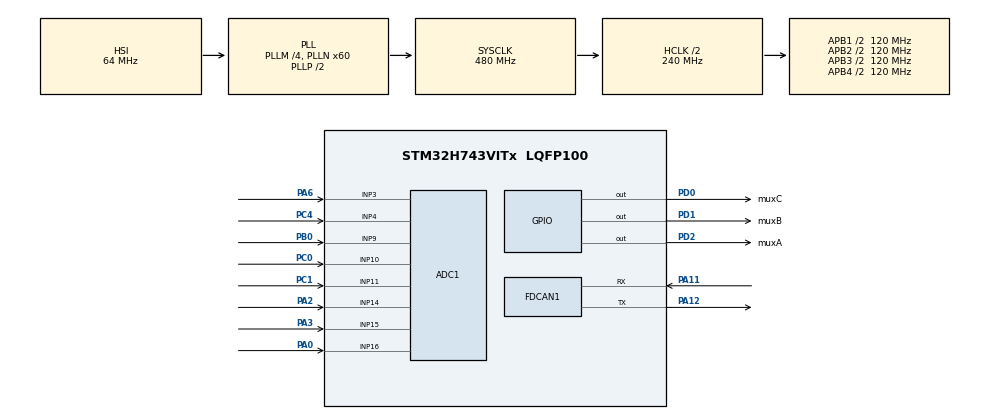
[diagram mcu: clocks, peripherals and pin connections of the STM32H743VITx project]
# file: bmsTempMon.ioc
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ADC1.Channel-2\#ChannelRegularConversion=ADC_CHANNEL_11
ADC1.NbrOfConversionFlag=1
ADC1.OffsetNumber-2\#ChannelRegularConversion=ADC_OFFSET_NONE
ADC1.OffsetSignedSaturation-2\#ChannelRegularConversion=DISABLE
ADC1.Rank-2\#ChannelRegularConversion=1
ADC1.SamplingTime-2\#ChannelRegularConversion=ADC_SAMPLETIME_1CYCLE_5
ADC1.master=1
CORTEX_M7.Size_Spec=MPU_REGION_SIZE_4GB
CORTEX_M7.default_mode_Activation=1
FDCAN1.AutoRetransmission=ENABLE
FDCAN1.CalculateBaudRateNominal=999999
FDCAN1.CalculateTimeBitNominal=1000
FDCAN1.CalculateTimeQuantumNominal=66.66666666666667
FDCAN1.FrameFormat=FDCAN_FRAME_CLASSIC
FDCAN1.NominalPrescaler=8
FDCAN1.NominalTimeSeg1=12
FDCAN1.NominalTimeSeg2=2
FDCAN1.RxFifo1ElmtsNbr=1
FDCAN1.StdFiltersNbr=1
FDCAN1.TxElmtSize=FDCAN_DATA_BYTES_12
FDCAN1.TxFifoQueueElmtsNbr=32
IWDG1.Prescaler=IWDG_PRESCALER_32
Mcu.Family=STM32H7
Mcu.Name=STM32H743VITx
Mcu.Package=LQFP100
NVIC.ADC_IRQn=true\:0\:0\:false\:false\:true\:true\:true\:true
NVIC.FDCAN1_IT0_IRQn=true\:0\:0\:false\:false\:true\:true\:true\:true
NVIC.PriorityGroup=NVIC_PRIORITYGROUP_4
PA0.Mode=IN16-Single-Ended
PA0.Signal=ADC1_INP16
PA11.Mode=FDCAN_Activate
PA11.Signal=FDCAN1_RX
PA12.Mode=FDCAN_Activate
PA12.Signal=FDCAN1_TX
PA2.Signal=ADCx_INP14
PA3.Signal=ADCx_INP15
PA6.Signal=ADCx_INP3
PB0.Signal=ADCx_INP9
PC0.Signal=ADCx_INP10
PC1.Signal=ADCx_INP11
PC4.Signal=ADCx_INP4
PD0.GPIO_Label=muxC
PD0.Signal=GPIO_Output
PD1.GPIO_Label=muxB
PD1.Signal=GPIO_Output
PD2.GPIO_Label=muxA
PD2.Signal=GPIO_Output
PH0-OSC_IN\ (PH0).Mode=HSE-External-Oscillator
PH0-OSC_IN\ (PH0).Signal=RCC_OSC_IN
PH1-OSC_OUT\ (PH1).Mode=HSE-External-Oscillator
PH1-OSC_OUT\ (PH1).Signal=RCC_OSC_OUT
ProjectManager.HeapSize=0x200
ProjectManager.StackSize=0x400
ProjectManager.TargetToolchain=STM32CubeIDE
RCC.ADCFreq_Value=80000000
RCC.APB1Freq_Value=120000000
RCC.APB2Freq_Value=120000000
RCC.APB3Freq_Value=120000000
RCC.APB4Freq_Value=120000000
RCC.CortexFreq_Value=480000000
RCC.D1PPRE=RCC_APB3_DIV2
RCC.D2PPRE1=RCC_APB1_DIV2
RCC.D2PPRE2=RCC_APB2_DIV2
RCC.D3PPRE=RCC_APB4_DIV2
RCC.DIVM1=4
RCC.DIVM2=4
RCC.DIVN1=60
RCC.DIVN2=10
RCC.DIVQ1=8
RCC.HCLKFreq_Value=240000000
RCC.HPRE=RCC_HCLK_DIV2
RCC.PLL2FRACN=0
RCC.PLL3FRACN=0
RCC.PLLFRACN=0
RCC.SYSCLKFreq_VALUE=480000000
RCC.SYSCLKSource=RCC_SYSCLKSOURCE_PLLCLK
RCC.USBFreq_Value=120000000
SH.ADCx_INP10.0=ADC1_INP10,IN10-Single-Ended
SH.ADCx_INP11.0=ADC1_INP11,IN11-Single-Ended
SH.ADCx_INP14.0=ADC1_INP14,IN14-Single-Ended
SH.ADCx_INP15.0=ADC1_INP15,IN15-Single-Ended
SH.ADCx_INP3.0=ADC1_INP3,IN3-Single-Ended
SH.ADCx_INP4.0=ADC1_INP4,IN4-Single-Ended
SH.ADCx_INP9.0=ADC1_INP9,IN9-Single-Ended
VP_IWDG1_VS_IWDG.Mode=IWDG_Activate
VP_MEMORYMAP_VS_MEMORYMAP.Mode=CurAppReg
board=custom

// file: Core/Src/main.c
/* USER CODE BEGIN Header */
/**
  ******************************************************************************
  * @file           : main.c
  * @brief          : Main program body
  ******************************************************************************
  * @attention
  *
  * Copyright (c) 2025 STMicroelectronics.
  * All rights reserved.
  *
  * This software is licensed under terms that can be found in the LICENSE file
  * in the root directory of this software component.
  * If no LICENSE file comes with this software, it is provided AS-IS.
  *
  ******************************************************************************
  */
/* USER CODE END Header */
#include "main.h"

/* USER CODE BEGIN Includes */
#include <math.h>
#include <stdbool.h>
#include "stm32h7xx_hal.h"
/* USER CODE END Includes */

/* USER CODE BEGIN PD */
#define V_REF (float) 3.3
#define FEEDBACK (float) 120.0
#define THERM_B (float) 3380.0
#define R0 (float) 10000.0
#define T0 (float) 298.15
/* USER CODE END PD */

ADC_HandleTypeDef hadc1;

FDCAN_HandleTypeDef hfdcan1;

IWDG_HandleTypeDef hiwdg1;

/* USER CODE BEGIN PV */
uint32_t adc_value = 0;   // ADC value

float voltage = 0.0;      // Voltage corresponding to the ADC value
float resistance = 0.0;   // Resistance based on voltage
float temperature = 0.0;  // Temperature in Celsius
float total_temperature = 0.0;
float average_temperature = 0.0;
float min_temperature = 100.0;
float max_temperature = 0.0;
float temp_counter = 0.0;

temp_Lookup_Table vt_Lookup[33] = {
		{2.44, -40},
		{2.42, -35},
		{2.40, -30},
		{2.38, -25},
		{2.35, -20},
		{2.32, -15},
		{2.27, -10},
		{2.23, -5},
		{2.17, 0},
		{2.11, 5},
		{2.05, 10},
		{1.99, 15},
		{1.92, 20},
		{1.86, 25},
		{1.80, 30},
		{1.74, 35},
		{1.68, 40},
		{1.63, 45},
		{1.59, 50},
		{1.55, 55},
		{1.51, 60},
		{1.48, 65},
		{1.45, 70},
		{1.43, 75},
		{1.40, 80},
		{1.38, 85},
		{1.37, 90},
		{1.35, 95},
		{1.34, 100},
		{1.33, 105},
		{1.32, 110},
		{1.31, 115},
		{1.30, 120}
};
FDCAN_TxHeaderTypeDef tx_Header;
/* USER CODE END PV */

void SystemClock_Config(void);
static void MPU_Config(void);
static void MX_GPIO_Init(void);
static void MX_ADC1_Init(void);
static void MX_FDCAN1_Init(void);
static void MX_IWDG1_Init(void);
/* USER CODE BEGIN PFP */
void sendCan(void);
HAL_StatusTypeDef CAN_init();
/* USER CODE END PFP */

/* USER CODE BEGIN 0 */
HAL_StatusTypeDef CAN_init()
{
	hfdcan1.Instance = FDCAN1; // Use FDCAN1 or FDCAN2
	hfdcan1.Init.FrameFormat = FDCAN_FRAME_CLASSIC;
	hfdcan1.Init.Mode = FDCAN_MODE_NORMAL;
	hfdcan1.Init.AutoRetransmission = ENABLE;
	hfdcan1.Init.TransmitPause = DISABLE;
	hfdcan1.Init.ProtocolException = DISABLE;

	hfdcan1.Init.NominalPrescaler = 8;
	hfdcan1.Init.NominalSyncJumpWidth = 1;
	hfdcan1.Init.NominalTimeSeg1 = 12;
	hfdcan1.Init.NominalTimeSeg2 = 2;

	hfdcan1.Init.DataPrescaler = 1;
	hfdcan1.Init.DataSyncJumpWidth = 1;
	hfdcan1.Init.DataTimeSeg1 = 1;
	hfdcan1.Init.DataTimeSeg2 = 1;

	if (HAL_FDCAN_Init(&hfdcan1) != HAL_OK)
		return HAL_ERROR;

	FDCAN_FilterTypeDef sFilterConfig;
	sFilterConfig.IdType = FDCAN_EXTENDED_ID;
	sFilterConfig.FilterIndex = 0;
	sFilterConfig.FilterType = FDCAN_FILTER_MASK;
	sFilterConfig.FilterConfig = FDCAN_FILTER_TO_RXFIFO0;
	sFilterConfig.FilterID1 = 0x0000;
	sFilterConfig.FilterID2 = 0x0000;

	if (HAL_FDCAN_ConfigFilter(&hfdcan1, &sFilterConfig) != HAL_OK)
	    return HAL_ERROR;

	if (HAL_FDCAN_Start(&hfdcan1) != HAL_OK)
	    return HAL_ERROR;

	uint32_t CAN_ID = 0x1839F380;

	tx_Header.Identifier = 0x1839F380;
	tx_Header.IdType = FDCAN_EXTENDED_ID;
	tx_Header.TxFrameType = FDCAN_DATA_FRAME;
	tx_Header.DataLength = FDCAN_DLC_BYTES_8;
	tx_Header.ErrorStateIndicator = FDCAN_ESI_ACTIVE;
	tx_Header.BitRateSwitch = FDCAN_BRS_OFF;
	tx_Header.FDFormat = FDCAN_CLASSIC_CAN;
	tx_Header.TxEventFifoControl = FDCAN_NO_TX_EVENTS;
	tx_Header.MessageMarker = 0;

	return HAL_OK;

//	debug_msg.StdId = 0x00;
//	debug_msg.ExtId = 0x7;
//	debug_msg.IDE = CAN_ID_EXT;
//	debug_msg.RTR = CAN_RTR_DATA;
//	debug_msg.DLC = 1;
//	debug_msg.TransmitGlobalTime = DISABLE;

}
void SetMuxChannel(uint8_t channel) {
    // Assuming each control pin is connected to one of the 3 GPIO pins
    HAL_GPIO_WritePin(muxA_GPIO_Port, muxA_Pin, (channel & 0x01) ? GPIO_PIN_SET : GPIO_PIN_RESET);
    HAL_GPIO_WritePin(muxB_GPIO_Port, muxB_Pin, (channel & 0x02) ? GPIO_PIN_SET : GPIO_PIN_RESET);
    HAL_GPIO_WritePin(muxC_GPIO_Port, muxC_Pin, (channel & 0x04) ? GPIO_PIN_SET : GPIO_PIN_RESET);
}

void setADCChannel(uint8_t channel) {
	ADC_ChannelConfTypeDef sConfig = {0};
	sConfig.Rank = ADC_REGULAR_RANK_1;
	sConfig.SamplingTime = ADC_SAMPLETIME_1CYCLE_5;
	sConfig.SingleDiff = ADC_SINGLE_ENDED;
	sConfig.OffsetNumber = ADC_OFFSET_NONE;
	sConfig.Offset = 0;
	sConfig.OffsetSignedSaturation = DISABLE;

	switch (channel) {
		case 0:
			sConfig.Channel = ADC_CHANNEL_3;
			break;
		case 1:
			sConfig.Channel = ADC_CHANNEL_4;
			break;
		case 2:
			sConfig.Channel = ADC_CHANNEL_9;
			break;
		case 3:
			sConfig.Channel = ADC_CHANNEL_10;
			break;
		case 4:
			sConfig.Channel = ADC_CHANNEL_11;
			break;
		case 5:
			sConfig.Channel = ADC_CHANNEL_14;
			break;
		case 6:
			sConfig.Channel = ADC_CHANNEL_15;
			break;
		case 7:
			sConfig.Channel = ADC_CHANNEL_16;
			break;
		default:
			Error_Handler();
			break;
	}

	if (HAL_ADC_ConfigChannel(&hadc1, &sConfig) != HAL_OK) {
		Error_Handler();  // Handle ADC configuration failure
	}
}

void Read_ADC(void) {
    HAL_ADC_Start(&hadc1);
    HAL_ADC_PollForConversion(&hadc1, 10);
    adc_value = HAL_ADC_GetValue(&hadc1);
    HAL_ADC_Stop(&hadc1);

    voltage = (adc_value * V_REF) / 65536.0;  // Convert ADC value to voltage
}

int8_t getClosestTemp(float voltage) {
    int16_t closestTemp = vt_Lookup[0].temperature;

    for (size_t i = 1; i < 33; i++) {
        if (vt_Lookup[i].voltage < voltage) {
            closestTemp = vt_Lookup[i].temperature;
            break;
        }
    }
    closestTemp = (closestTemp - 32) * 5 / 9;
    int8_t retTemp =  closestTemp & 0x00FF;
    return retTemp;
}

/*

float Get_Resistance(float voltage) {
    return FEEDBACK * (voltage / (V_REF - voltage));
}

float Get_Temperature(float resistance) {
    float temp_kelvin = 1.0 / ((1.0 / T0) + (1.0 / THERM_B) * log(resistance / R0));
    return temp_kelvin - 273.15;  // Convert to Celsius
}*/

void Calculate_Average_Temperature(void) {
    total_temperature = 0.0;
    temp_counter = 0;

    for(uint8_t adcChannel = 0; adcChannel < 8; adcChannel++) {
    	setADCChannel(adcChannel);

    	for (uint8_t muxChannel = 0; muxChannel < 8; muxChannel++) {
    		SetMuxChannel(muxChannel);  // Select mux channel (mux1 - mux8)

			Read_ADC();
			temperature = getClosestTemp(voltage);

        	if(adcChannel == 0 && (muxChannel == 1 || muxChannel == 6 || muxChannel == 7)){
        		continue; // Skip y1, y6, and y7 mux 0
        	}
        	if(adcChannel == 1){
        		continue; // skip mux 1
        	}
        	if(adcChannel == 2){
        		continue; // Skip mux 2
        	}
        	if(adcChannel == 3 && (muxChannel == 4)){
				continue; // skip y4 mux 3
			}
        	if(adcChannel == 4 && (muxChannel == 0)){
        		continue; // Skip y1 mux 4
        	}
        	if(adcChannel == 5 && (muxChannel == 7)){
				continue; // Skip y7 on mux 5
			}
        	if(adcChannel == 7 && (muxChannel > 3)){
        		continue; // skip last 4
        	}

			if(temperature < 0 ){
				continue;
			}

			if(temperature < min_temperature){
				min_temperature = temperature;
			}
			if(temperature > max_temperature){
				max_temperature = temperature;
			}
			total_temperature += temperature;
			temp_counter++;
		}
    }

    // Calculate the average temperature
    if (temp_counter < 1) {
		min_temperature = max_temperature = average_temperature = 0.0;
		temp_counter = 0;

	} else {
	    average_temperature = total_temperature / temp_counter;
	}
}

void sendCan(void){
    //uint8_t txData[8] = {0x01, 0x02, 0x03, 0x04, 0x05, 0x06, 0x07, 0x08};
	uint8_t txData[8];

    // Ensure temperatures stay within valid int8_t range
    int8_t min_temp = (int8_t)roundf(fmaxf(fminf(min_temperature, 127), -128));
    int8_t max_temp = (int8_t)roundf(fmaxf(fminf(max_temperature, 127), -128));
    int8_t avg_temp = (int8_t)roundf(fmaxf(fminf(average_temperature, 127), -128));

    txData[0] = 0x00;
    txData[1] = min_temp;
    txData[2] = max_temp;
    txData[3] = avg_temp;
    txData[4] = 0x28;
    txData[5] = 0x54;
    txData[6] = 0x01;
    txData[7] = txData[0] + txData[1] + txData[2] + txData[3] + txData[4] + txData[5] + txData[6] + 0x39 + 0x08;

    // Send CAN message
    if (HAL_FDCAN_AddMessageToTxFifoQ(&hfdcan1, &tx_Header, txData) != HAL_OK) {
        Error_Handler(); // Handle transmission failure
    }
}

/*void HAL_FDCAN_RxFifo0Callback(FDCAN_HandleTypeDef *hfdcan, uint32_t RxFifo0ITs) {
    if ((RxFifo0ITs & FDCAN_IT_RX_FIFO0_NEW_MESSAGE) != 0) {
        FDCAN_RxHeaderTypeDef RxHeader;
        uint8_t RxData[8];

        if (HAL_FDCAN_GetRxMessage(hfdcan, FDCAN_RX_FIFO0, &RxHeader, RxData) != HAL_OK) {

        }
    }
}*/
/* USER CODE END 0 */

int main(void)
{

  /* MPU Configuration--------------------------------------------------------*/
  MPU_Config();

  /* MCU Configuration--------------------------------------------------------*/

  /* Reset of all peripherals, Initializes the Flash interface and the Systick. */
  HAL_Init();

  /* Configure the system clock */
  SystemClock_Config();

  /* Initialize all configured peripherals */
  MX_GPIO_Init();
  MX_ADC1_Init();
  MX_FDCAN1_Init();
  MX_IWDG1_Init();
  /* USER CODE BEGIN 2 */
  if (__HAL_RCC_GET_FLAG(RCC_FLAG_IWDG1RST))
  {
      // WDT triggered the last reset
      __HAL_RCC_CLEAR_RESET_FLAGS();
      // Optional: indicate via LED or UART
  }

  if (CAN_init() != HAL_OK)
	  Error_Handler();
  //HAL_TIM_Base_Start_IT(&htim1);

/*  volatile bool ms200_flag = false;

  void HAL_TIM_PeriodElapsedCallback(TIM_HandleTypeDef *htim)
  {
	  ms200_flag = true;

  }*/

  /* USER CODE END 2 */

  /* Infinite loop */
  /* USER CODE BEGIN WHILE */
  while (1)
  {
//	  for(int i = 0; i < 20000; i++){ }
	  //if(ms200_flag)
	  Calculate_Average_Temperature();
	  sendCan();
      HAL_IWDG_Refresh(&hiwdg1);               // Refresh watchdog before 3s
	  HAL_Delay(10);

    /* USER CODE END WHILE */

  }
}

void SystemClock_Config(void)
{
  RCC_OscInitTypeDef RCC_OscInitStruct = {0};
  RCC_ClkInitTypeDef RCC_ClkInitStruct = {0};

  /** Supply configuration update enable
  */
  HAL_PWREx_ConfigSupply(PWR_LDO_SUPPLY);

  /** Configure the main internal regulator output voltage
  */
  __HAL_PWR_VOLTAGESCALING_CONFIG(PWR_REGULATOR_VOLTAGE_SCALE0);

  while(!__HAL_PWR_GET_FLAG(PWR_FLAG_VOSRDY)) {}

  /** Initializes the RCC Oscillators according to the specified parameters
  * in the RCC_OscInitTypeDef structure.
  */
  RCC_OscInitStruct.OscillatorType = RCC_OSCILLATORTYPE_HSI|RCC_OSCILLATORTYPE_LSI;
  RCC_OscInitStruct.HSIState = RCC_HSI_DIV1;
  RCC_OscInitStruct.HSICalibrationValue = RCC_HSICALIBRATION_DEFAULT;
  RCC_OscInitStruct.LSIState = RCC_LSI_ON;
  RCC_OscInitStruct.PLL.PLLState = RCC_PLL_ON;
  RCC_OscInitStruct.PLL.PLLSource = RCC_PLLSOURCE_HSI;
  RCC_OscInitStruct.PLL.PLLM = 4;
  RCC_OscInitStruct.PLL.PLLN = 60;
  RCC_OscInitStruct.PLL.PLLP = 2;
  RCC_OscInitStruct.PLL.PLLQ = 8;
  RCC_OscInitStruct.PLL.PLLR = 2;
  RCC_OscInitStruct.PLL.PLLRGE = RCC_PLL1VCIRANGE_3;
  RCC_OscInitStruct.PLL.PLLVCOSEL = RCC_PLL1VCOWIDE;
  RCC_OscInitStruct.PLL.PLLFRACN = 0;
  if (HAL_RCC_OscConfig(&RCC_OscInitStruct) != HAL_OK)
  {
    Error_Handler();
  }

  /** Initializes the CPU, AHB and APB buses clocks
  */
  RCC_ClkInitStruct.ClockType = RCC_CLOCKTYPE_HCLK|RCC_CLOCKTYPE_SYSCLK
                              |RCC_CLOCKTYPE_PCLK1|RCC_CLOCKTYPE_PCLK2
                              |RCC_CLOCKTYPE_D3PCLK1|RCC_CLOCKTYPE_D1PCLK1;
  RCC_ClkInitStruct.SYSCLKSource = RCC_SYSCLKSOURCE_PLLCLK;
  RCC_ClkInitStruct.SYSCLKDivider = RCC_SYSCLK_DIV1;
  RCC_ClkInitStruct.AHBCLKDivider = RCC_HCLK_DIV2;
  RCC_ClkInitStruct.APB3CLKDivider = RCC_APB3_DIV2;
  RCC_ClkInitStruct.APB1CLKDivider = RCC_APB1_DIV2;
  RCC_ClkInitStruct.APB2CLKDivider = RCC_APB2_DIV2;
  RCC_ClkInitStruct.APB4CLKDivider = RCC_APB4_DIV2;

  if (HAL_RCC_ClockConfig(&RCC_ClkInitStruct, FLASH_LATENCY_4) != HAL_OK)
  {
    Error_Handler();
  }
}

static void MX_ADC1_Init(void)
{

  ADC_MultiModeTypeDef multimode = {0};
  ADC_ChannelConfTypeDef sConfig = {0};

  /** Common config
  */
  hadc1.Instance = ADC1;
  hadc1.Init.ClockPrescaler = ADC_CLOCK_ASYNC_DIV1;
  hadc1.Init.Resolution = ADC_RESOLUTION_16B;
  hadc1.Init.ScanConvMode = ADC_SCAN_DISABLE;
  hadc1.Init.EOCSelection = ADC_EOC_SINGLE_CONV;
  hadc1.Init.LowPowerAutoWait = DISABLE;
  hadc1.Init.ContinuousConvMode = DISABLE;
  hadc1.Init.NbrOfConversion = 1;
  hadc1.Init.DiscontinuousConvMode = DISABLE;
  hadc1.Init.ExternalTrigConv = ADC_SOFTWARE_START;
  hadc1.Init.ExternalTrigConvEdge = ADC_EXTERNALTRIGCONVEDGE_NONE;
  hadc1.Init.ConversionDataManagement = ADC_CONVERSIONDATA_DR;
  hadc1.Init.Overrun = ADC_OVR_DATA_PRESERVED;
  hadc1.Init.LeftBitShift = ADC_LEFTBITSHIFT_NONE;
  hadc1.Init.OversamplingMode = DISABLE;
  hadc1.Init.Oversampling.Ratio = 1;
  if (HAL_ADC_Init(&hadc1) != HAL_OK)
  {
    Error_Handler();
  }

  /** Configure the ADC multi-mode
  */
  multimode.Mode = ADC_MODE_INDEPENDENT;
  if (HAL_ADCEx_MultiModeConfigChannel(&hadc1, &multimode) != HAL_OK)
  {
    Error_Handler();
  }

  /** Configure Regular Channel
  */
  sConfig.Channel = ADC_CHANNEL_11;
  sConfig.Rank = ADC_REGULAR_RANK_1;
  sConfig.SamplingTime = ADC_SAMPLETIME_1CYCLE_5;
  sConfig.SingleDiff = ADC_SINGLE_ENDED;
  sConfig.OffsetNumber = ADC_OFFSET_NONE;
  sConfig.Offset = 0;
  sConfig.OffsetSignedSaturation = DISABLE;
  if (HAL_ADC_ConfigChannel(&hadc1, &sConfig) != HAL_OK)
  {
    Error_Handler();
  }

}

static void MX_FDCAN1_Init(void)
{

  hfdcan1.Instance = FDCAN1;
  hfdcan1.Init.FrameFormat = FDCAN_FRAME_CLASSIC;
  hfdcan1.Init.Mode = FDCAN_MODE_NORMAL;
  hfdcan1.Init.AutoRetransmission = ENABLE;
  hfdcan1.Init.TransmitPause = DISABLE;
  hfdcan1.Init.ProtocolException = DISABLE;
  hfdcan1.Init.NominalPrescaler = 8;
  hfdcan1.Init.NominalSyncJumpWidth = 1;
  hfdcan1.Init.NominalTimeSeg1 = 12;
  hfdcan1.Init.NominalTimeSeg2 = 2;
  hfdcan1.Init.DataPrescaler = 1;
  hfdcan1.Init.DataSyncJumpWidth = 1;
  hfdcan1.Init.DataTimeSeg1 = 1;
  hfdcan1.Init.DataTimeSeg2 = 1;
  hfdcan1.Init.MessageRAMOffset = 0;
  hfdcan1.Init.StdFiltersNbr = 1;
  hfdcan1.Init.ExtFiltersNbr = 0;
  hfdcan1.Init.RxFifo0ElmtsNbr = 0;
  hfdcan1.Init.RxFifo0ElmtSize = FDCAN_DATA_BYTES_8;
  hfdcan1.Init.RxFifo1ElmtsNbr = 1;
  hfdcan1.Init.RxFifo1ElmtSize = FDCAN_DATA_BYTES_8;
  hfdcan1.Init.RxBuffersNbr = 0;
  hfdcan1.Init.RxBufferSize = FDCAN_DATA_BYTES_8;
  hfdcan1.Init.TxEventsNbr = 0;
  hfdcan1.Init.TxBuffersNbr = 0;
  hfdcan1.Init.TxFifoQueueElmtsNbr = 32;
  hfdcan1.Init.TxFifoQueueMode = FDCAN_TX_FIFO_OPERATION;
  hfdcan1.Init.TxElmtSize = FDCAN_DATA_BYTES_12;
  if (HAL_FDCAN_Init(&hfdcan1) != HAL_OK)
  {
    Error_Handler();
  }

}

static void MX_IWDG1_Init(void)
{

  hiwdg1.Instance = IWDG1;
  hiwdg1.Init.Prescaler = IWDG_PRESCALER_32;
  hiwdg1.Init.Window = 4095;
  hiwdg1.Init.Reload = 4095;
  if (HAL_IWDG_Init(&hiwdg1) != HAL_OK)
  {
    Error_Handler();
  }

}

static void MX_GPIO_Init(void)
{
  GPIO_InitTypeDef GPIO_InitStruct = {0};

  /* GPIO Ports Clock Enable */
  __HAL_RCC_GPIOH_CLK_ENABLE();
  __HAL_RCC_GPIOC_CLK_ENABLE();
  __HAL_RCC_GPIOA_CLK_ENABLE();
  __HAL_RCC_GPIOB_CLK_ENABLE();
  __HAL_RCC_GPIOD_CLK_ENABLE();

  /*Configure GPIO pin Output Level */
  HAL_GPIO_WritePin(GPIOD, muxC_Pin|muxB_Pin|muxA_Pin, GPIO_PIN_RESET);

  /*Configure GPIO pins : muxC_Pin muxB_Pin muxA_Pin */
  GPIO_InitStruct.Pin = muxC_Pin|muxB_Pin|muxA_Pin;
  GPIO_InitStruct.Mode = GPIO_MODE_OUTPUT_PP;
  GPIO_InitStruct.Pull = GPIO_NOPULL;
  GPIO_InitStruct.Speed = GPIO_SPEED_FREQ_LOW;
  HAL_GPIO_Init(GPIOD, &GPIO_InitStruct);

}

 /* MPU Configuration */

void MPU_Config(void)
{
  MPU_Region_InitTypeDef MPU_InitStruct = {0};

  /* Disables the MPU */
  HAL_MPU_Disable();

  /** Initializes and configures the Region and the memory to be protected
  */
  MPU_InitStruct.Enable = MPU_REGION_ENABLE;
  MPU_InitStruct.Number = MPU_REGION_NUMBER0;
  MPU_InitStruct.BaseAddress = 0x0;
  MPU_InitStruct.Size = MPU_REGION_SIZE_4GB;
  MPU_InitStruct.SubRegionDisable = 0x87;
  MPU_InitStruct.TypeExtField = MPU_TEX_LEVEL0;
  MPU_InitStruct.AccessPermission = MPU_REGION_NO_ACCESS;
  MPU_InitStruct.DisableExec = MPU_INSTRUCTION_ACCESS_DISABLE;
  MPU_InitStruct.IsShareable = MPU_ACCESS_SHAREABLE;
  MPU_InitStruct.IsCacheable = MPU_ACCESS_NOT_CACHEABLE;
  MPU_InitStruct.IsBufferable = MPU_ACCESS_NOT_BUFFERABLE;

  HAL_MPU_ConfigRegion(&MPU_InitStruct);
  /* Enables the MPU */
  HAL_MPU_Enable(MPU_PRIVILEGED_DEFAULT);

}

void Error_Handler(void)
{
  __disable_irq();
  while (1)
  {
  }
}
